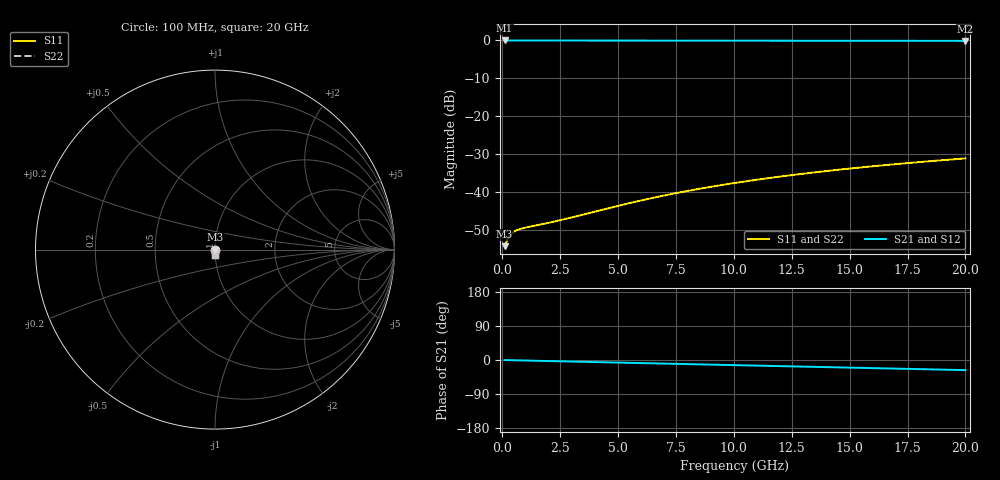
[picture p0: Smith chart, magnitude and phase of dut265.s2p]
! Touchstone file exported from HFSS 2026.1.0
!  File:  C:/ffzhzh/LocalFiles/Ansys_Project_Files/temp_train_BSMRDL_265_1782988838_42984.aedt
!  Generated:  06:41:45 PM Jul  2, 2026
!  Design:  BSMRDL
!  Project:  temp_train_BSMRDL_265_1782988838_42984
! Variables:
!  h_bsmrdl = 3.85um
!  h_ox = 20um
!  h_rdl = 5um
!  h_sub = 80um
!  h_tmrdl = 5um
!  h_tsv = 80um
!  h_via = 3um
!  l_bsmrdl = 469.11um
!  l_sub = 869.11um
!  l_tmrdl = 200um
!  m_sub = 200um
!  pitch = 31.13um
!  r_tsv = 6um
!  s_tmrdl = 10um
!  w_bsmrdl = 27.16um
!  w_sub = 500um
!  w_tmrdl = 12um
!  x_tsv_center1 = 206um
!  x_tsv_center2 = 702.27um
!  x_tsv_center3 = 914.27um
!  x_tsv_center4 = 1410.54um
!  x_tsv_center5 = 1622.54um
!  x_tsv_center6 = 2118.81um
# GHz S MA R 50.000000
! Terminal data exported
! Port[1] = BSM_RDL1_1_T1
! Port[2] = BSM_RDL1_1_T2
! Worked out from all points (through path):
!   200 points, 100 MHz to 20 GHz, reference 50 ohm
!   highest |S21| = -0.02 dB at 100 MHz (marker M1); lowest = -0.1 dB at 20 GHz (marker M2)
!   group delay of S21, straight-line fit = 3.69 ps
!   lowest |S11| = -54.2 dB at 100 MHz (marker M3), VSWR 1.00, Z = 50.2 + j0.0418 ohm
!   |S11| at or under -10 dB: start of sweep to end of sweep
!   |S22| runs from -54.2 to -31.0 dB; largest |S21 - S12| = 4.2e-15
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0.1  0.001948 12.3  0.9981 -0.2  0.9981 -0.2  0.001948 12.3
! Gamma 0 0 0 0
! Port Impedance 50 0 50 0
0.2  0.002299 16.7  0.9978 -0.3  0.9978 -0.3  0.002299 16.7
0.3  0.002616 16.2  0.9975 -0.5  0.9975 -0.5  0.002616 16.2
0.4  0.00285 14.0  0.9972 -0.6  0.9972 -0.6  0.00285 14.0
0.5  0.003016 11.6  0.997 -0.7  0.997 -0.7  0.003016 11.6
0.6  0.003136 9.3  0.9969 -0.9  0.9969 -0.9  0.003137 9.3
0.7  0.003228 7.2  0.9968 -1.0  0.9968 -1.0  0.003229 7.2
1  0.003422 2.2  0.9966 -1.4  0.9966 -1.4  0.003423 2.2
2.4  0.004213 -12.5  0.9958 -3.3  0.9958 -3.3  0.004218 -12.5
3.5  0.00509 -21.3  0.9951 -4.8  0.9951 -4.8  0.005099 -21.3
5.3  0.006965 -33.8  0.9937 -7.3  0.9937 -7.3  0.006983 -33.7
6.8  0.00881 -42.7  0.9926 -9.3  0.9926 -9.3  0.008837 -42.6
7.6  0.009862 -47.0  0.992 -10.4  0.992 -10.4  0.009895 -46.8
8.4  0.01095 -50.9  0.9914 -11.4  0.9914 -11.4  0.01099 -50.7
9.2  0.01206 -54.5  0.9909 -12.5  0.9909 -12.5  0.0121 -54.4
10.1  0.01334 -58.3  0.9903 -13.7  0.9903 -13.7  0.01339 -58.1
11.7  0.01565 -64.4  0.9894 -15.8  0.9894 -15.8  0.01571 -64.1
13.4  0.01814 -70.0  0.9885 -18.0  0.9885 -18.0  0.01821 -69.7
15  0.0205 -74.8  0.9876 -20.1  0.9876 -20.1  0.02059 -74.5
16.7  0.02302 -79.4  0.9868 -22.4  0.9868 -22.4  0.02312 -79.0
18.3  0.02539 -83.5  0.9861 -24.5  0.9861 -24.5  0.02551 -83.0
20  0.0279 -87.4  0.9853 -26.7  0.9853 -26.7  0.02803 -86.9
